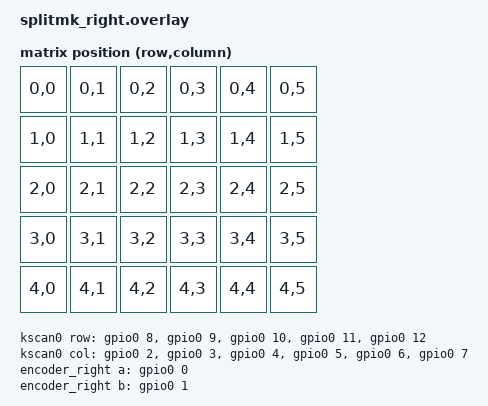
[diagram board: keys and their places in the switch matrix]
/*
 * SplitMK Right Hand
 *
 * Same physical layout as left but this is the BLE peripheral.
 * It sends key events to the left (central) over BLE.
 * Encoder: A=GP0  B=GP1  no SW
 */

/ {
    chosen {
        zmk,kscan    = &kscan0;
        zmk,matrix_transform = &matrix_transform;
    };

    kscan0: kscan {
        compatible = "zmk,kscan-gpio-matrix";
        label = "KSCAN";
        diode-direction = "col2row";

        row-gpios
            = <&gpio0  8 (GPIO_ACTIVE_HIGH | GPIO_PULL_DOWN)>
            , <&gpio0  9 (GPIO_ACTIVE_HIGH | GPIO_PULL_DOWN)>
            , <&gpio0  10 (GPIO_ACTIVE_HIGH | GPIO_PULL_DOWN)>
            , <&gpio0  11 (GPIO_ACTIVE_HIGH | GPIO_PULL_DOWN)>
            , <&gpio0  12 (GPIO_ACTIVE_HIGH | GPIO_PULL_DOWN)>
            ;

        col-gpios
            = <&gpio0  2 GPIO_ACTIVE_HIGH>
            , <&gpio0  3 GPIO_ACTIVE_HIGH>
            , <&gpio0  4 GPIO_ACTIVE_HIGH>
            , <&gpio0  5 GPIO_ACTIVE_HIGH>
            , <&gpio0  6 GPIO_ACTIVE_HIGH>
            , <&gpio0  7 GPIO_ACTIVE_HIGH>
            ;
    };

    matrix_transform: keymap_transform_0 {
        compatible = "zmk,matrix-transform";
        columns = <6>;
        rows = <5>;
        map = <
            RC(0,0) RC(0,1) RC(0,2) RC(0,3) RC(0,4) RC(0,5)
            RC(1,0) RC(1,1) RC(1,2) RC(1,3) RC(1,4) RC(1,5)
            RC(2,0) RC(2,1) RC(2,2) RC(2,3) RC(2,4) RC(2,5)
            RC(3,0) RC(3,1) RC(3,2) RC(3,3) RC(3,4) RC(3,5)
            RC(4,0) RC(4,1) RC(4,2) RC(4,3) RC(4,4) RC(4,5)
        >;
    };

    encoder_right: encoder_right {
        compatible = "alps,ec11";
        label = "RIGHT_ENCODER";
        a-gpios = <&gpio0 0 (GPIO_ACTIVE_HIGH | GPIO_PULL_UP)>;
        b-gpios = <&gpio0 1 (GPIO_ACTIVE_HIGH | GPIO_PULL_UP)>;
        steps = <80>;
        status = "okay";
    };

    encoder_btn: encoder_button {
        compatible = "zmk,gpio-keys";
        label = "ENCODER_BTN";
        enc_btn: enc_btn {
            gpios = <&gpio0 16 (GPIO_ACTIVE_LOW | GPIO_PULL_UP)>;
        };
    };

    sensors {
        compatible = "zmk,keymap-sensors";
        sensors = <&encoder_right>;
        triggers-per-rotation = <20>;
    };
};

&uart1 {
    current-speed = <115200>;
    status = "okay";
    pinctrl-0 = <&uart1_default>;
    pinctrl-names = "default";
};

